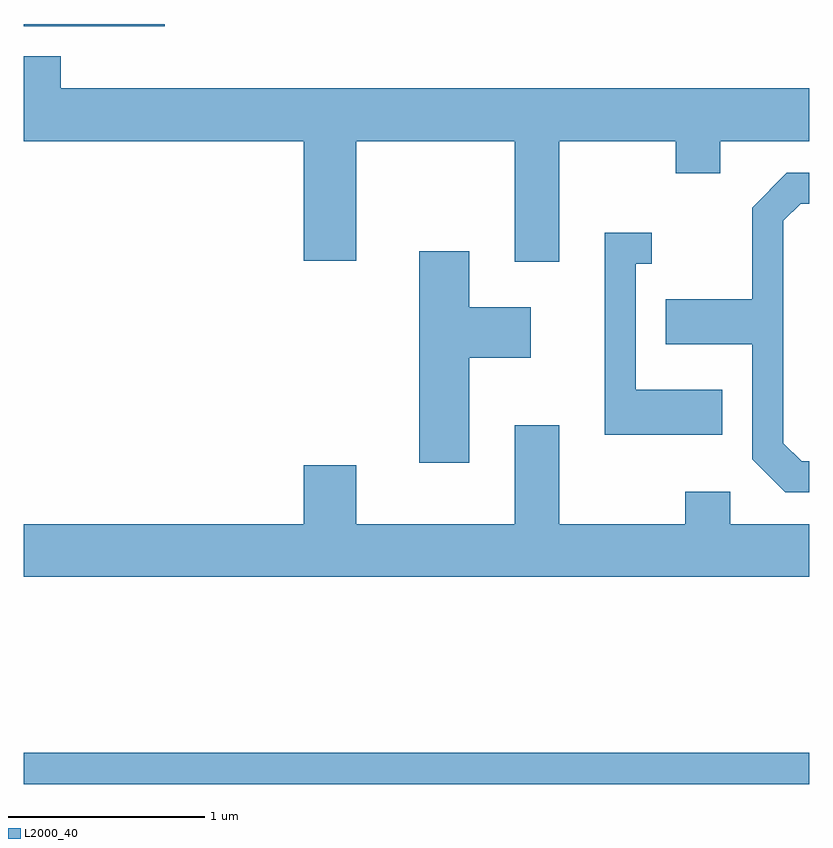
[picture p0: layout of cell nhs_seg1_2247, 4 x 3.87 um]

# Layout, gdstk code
import gdstk
lib = gdstk.Library(unit=1e-6, precision=1e-09)
def R(c, l, rs):  # rectangles x0, y0, x1, y1
    for r in rs: c.add(gdstk.rectangle(r[:2], r[2:], *l))
def P(c, l, *ps):  # polygons
    for p in ps: c.add(gdstk.Polygon(p, *l))
L2000_40 = (2000, 40)

nhs_seg1_2247 = lib.new_cell('nhs_seg1_2247')
R(nhs_seg1_2247, L2000_40, [(253.611,911.841,257.611,911.999), (253.611,915.701,254.328,915.712)])
P(nhs_seg1_2247, L2000_40, [(256.339,915.116),(256.931,915.116),(256.931,914.951),(257.159,914.951),(257.159,915.116),(257.611,915.116),(257.611,915.384),(253.799,915.384),(253.799,915.549),(253.611,915.549),(253.611,915.116),(255.036,915.116),(255.036,914.506),(255.304,914.506),(255.304,915.116),(256.111,915.116),(256.111,914.501),(256.339,914.501)],
  [(257.611,913.484),(257.572,913.484),(257.479,913.577),(257.479,914.709),(257.567,914.796),(257.611,914.796),(257.611,914.954),(257.498,914.954),(257.321,914.777),(257.321,914.309),(256.881,914.309),(256.881,914.081),(257.321,914.081),(257.321,913.494),(257.489,913.326),(257.611,913.326)],
  [(257.169,913.849),(256.729,913.849),(256.729,914.491),(256.808,914.491),(256.808,914.649),(256.571,914.649),(256.571,913.621),(257.169,913.621)],
  [(255.879,914.011),(256.194,914.011),(256.194,914.269),(255.879,914.269),(255.879,914.554),(255.626,914.554),(255.626,913.476),(255.879,913.476)],
  [(257.611,913.164),(257.209,913.164),(257.209,913.329),(256.981,913.329),(256.981,913.164),(256.339,913.164),(256.339,913.669),(256.111,913.669),(256.111,913.164),(255.304,913.164),(255.304,913.464),(255.036,913.464),(255.036,913.164),(253.611,913.164),(253.611,912.896),(257.611,912.896)])

lib.write_gds('nhs_seg1_2247.gds')
